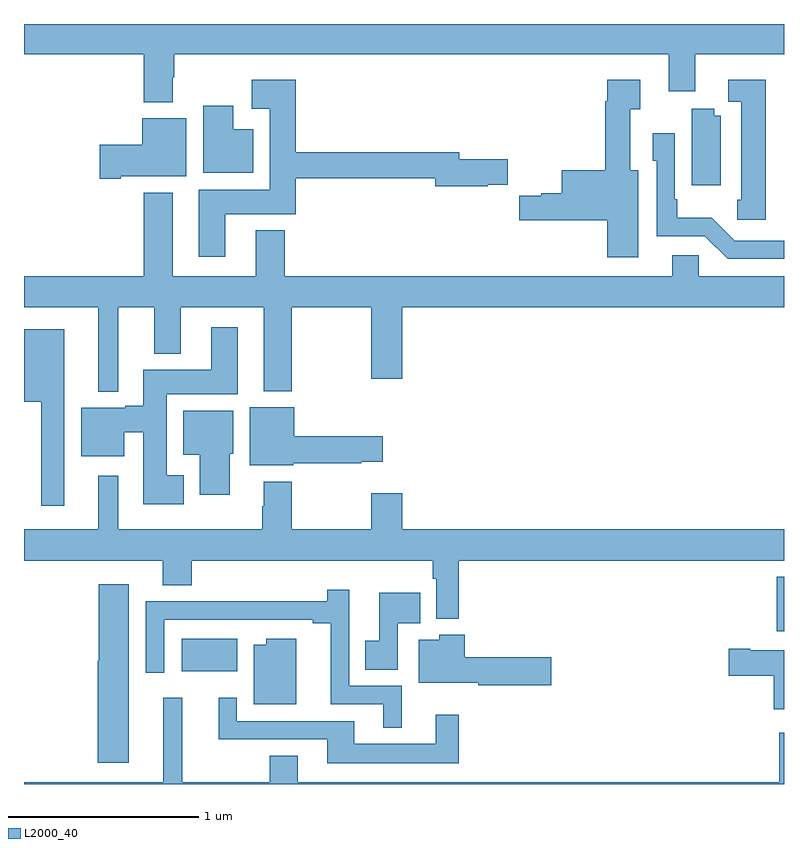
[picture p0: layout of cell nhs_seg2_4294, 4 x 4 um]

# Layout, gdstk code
import gdstk
lib = gdstk.Library(unit=1e-6, precision=1e-09)
def R(c, l, rs):  # rectangles x0, y0, x1, y1
    for r in rs: c.add(gdstk.rectangle(r[:2], r[2:], *l))
def P(c, l, *ps):  # polygons
    for p in ps: c.add(gdstk.Polygon(p, *l))
L2000_40 = (2000, 40)

nhs_seg2_4294 = lib.new_cell('nhs_seg2_4294')
R(nhs_seg2_4294, L2000_40, [(343.829,640.394,344.122,640.564), (346.961,640.605,347,640.891)])
P(nhs_seg2_4294, L2000_40, [(343,643.64),(343.631,643.64),(343.631,643.388),(343.783,643.388),(343.783,643.52),(343.791,643.52),(343.791,643.64),(346.394,643.64),(346.394,643.446),(346.534,643.446),(346.534,643.64),(347,643.64),(347,643.8),(343,643.8)],
  [(346.234,643.03),(346.192,643.03),(346.192,643.351),(346.243,643.351),(346.243,643.507),(346.07,643.507),(346.07,643.394),(346.058,643.394),(346.058,643.03),(345.83,643.03),(345.83,642.908),(345.723,642.908),(345.723,642.896),(345.607,642.896),(345.607,642.766),(346.07,642.766),(346.07,642.573),(346.234,642.573)],
  [(346.903,643.507),(346.707,643.507),(346.707,643.392),(346.775,643.392),(346.775,642.876),(346.753,642.876),(346.753,642.771),(346.903,642.771)],
  [(344.059,642.8),(344.429,642.8),(344.429,642.988),(345.164,642.988),(345.164,642.946),(345.44,642.946),(345.44,642.954),(345.545,642.954),(345.545,643.088),(345.292,643.088),(345.292,643.124),(344.429,643.124),(344.429,643.507),(344.199,643.507),(344.199,643.355),(344.294,643.355),(344.294,642.928),(343.919,642.928),(343.919,642.576),(344.059,642.576)],
  [(344.206,643.246),(344.101,643.246),(344.101,643.369),(343.943,643.369),(343.943,643.016),(344.206,643.016)],
  [(346.666,643.318),(346.634,643.318),(346.634,643.355),(346.514,643.355),(346.514,642.951),(346.666,642.951)],
  [(343.51,642.998),(343.855,642.998),(343.855,643.303),(343.622,643.303),(343.622,643.164),(343.398,643.164),(343.398,642.986),(343.51,642.986)],
  [(347,642.66),(346.74,642.66),(346.619,642.781),(346.438,642.781),(346.438,642.877),(346.425,642.877),(346.425,643.225),(346.308,643.225),(346.308,643.08),(346.329,643.08),(346.329,642.684),(346.584,642.684),(346.704,642.564),(347,642.564)],
  [(343.495,642.308),(343.685,642.308),(343.685,642.065),(343.825,642.065),(343.825,642.308),(344.261,642.308),(344.261,641.867),(344.409,641.867),(344.409,642.308),(344.828,642.308),(344.828,641.934),(344.992,641.934),(344.992,642.308),(347,642.308),(347,642.472),(346.551,642.472),(346.551,642.582),(346.412,642.582),(346.412,642.472),(344.372,642.472),(344.372,642.715),(344.219,642.715),(344.219,642.472),(343.783,642.472),(343.783,642.913),(343.631,642.913),(343.631,642.472),(343,642.472),(343,642.308),(343.391,642.308),(343.391,641.864),(343.495,641.864)],
  [(343.84,641.425),(343.75,641.425),(343.75,641.852),(344.125,641.852),(344.125,642.205),(343.985,642.205),(343.985,641.98),(343.628,641.98),(343.628,641.792),(343.532,641.792),(343.532,641.779),(343.301,641.779),(343.301,641.525),(343.528,641.525),(343.528,641.651),(343.628,641.651),(343.628,641.273),(343.84,641.273)],
  [(343.213,642.193),(343,642.193),(343,641.813),(343.092,641.813),(343.092,641.265),(343.213,641.265)],
  [(344.418,641.488),(344.774,641.488),(344.774,641.495),(344.887,641.495),(344.887,641.63),(344.422,641.63),(344.422,641.782),(344.189,641.782),(344.189,641.477),(344.418,641.477)],
  [(344.083,641.538),(344.101,641.538),(344.101,641.764),(343.838,641.764),(343.838,641.534),(343.925,641.534),(343.925,641.322),(344.083,641.322)],
  [(345.287,640.976),(347,640.976),(347,641.14),(344.992,641.14),(344.992,641.329),(344.828,641.329),(344.828,641.14),(344.409,641.14),(344.409,641.392),(344.261,641.392),(344.261,641.261),(344.254,641.261),(344.254,641.14),(343.495,641.14),(343.495,641.422),(343.391,641.422),(343.391,641.14),(343,641.14),(343,640.976),(343.73,640.976),(343.73,640.846),(343.883,640.846),(343.883,640.976),(345.151,640.976),(345.151,640.88),(345.171,640.88),(345.171,640.67),(345.287,640.67)],
  [(343.552,640.852),(343.394,640.852),(343.394,640.449),(343.388,640.449),(343.388,639.912),(343.552,639.912)],
  [(344.989,640.317),(344.712,640.317),(344.712,640.822),(344.596,640.822),(344.596,640.763),(343.966,640.763),(343.966,640.761),(343.641,640.761),(343.641,640.386),(343.737,640.386),(343.737,640.665),(344.519,640.665),(344.519,640.645),(344.615,640.645),(344.615,640.221),(344.891,640.221),(344.891,640.097),(344.989,640.097)],
  [(344.967,640.646),(345.086,640.646),(345.086,640.807),(344.87,640.807),(344.87,640.554),(344.797,640.554),(344.797,640.402),(344.967,640.402)],
  [(345.775,640.466),(345.32,640.466),(345.32,640.585),(345.186,640.585),(345.186,640.558),(345.077,640.558),(345.077,640.334),(345.39,640.334),(345.39,640.319),(345.775,640.319)],
  [(344.434,640.564),(344.276,640.564),(344.276,640.534),(344.21,640.534),(344.21,640.22),(344.434,640.22)],
  [(347,640.504),(346.822,640.504),(346.822,640.512),(346.71,640.512),(346.71,640.37),(346.946,640.37),(346.946,640.194),(347,640.194)],
  [(347,640.069),(346.975,640.069),(346.975,639.808),(344.44,639.808),(344.44,639.95),(344.293,639.95),(344.293,639.808),(343.832,639.808),(343.832,640.255),(343.733,640.255),(343.733,639.808),(343,639.808),(343,639.8),(347,639.8)],
  [(345.289,640.165),(345.167,640.165),(345.167,640.012),(344.737,640.012),(344.737,640.131),(344.121,640.131),(344.121,640.255),(344.024,640.255),(344.024,640.035),(344.597,640.035),(344.597,639.908),(345.289,639.908)])

lib.write_gds('nhs_seg2_4294.gds')
